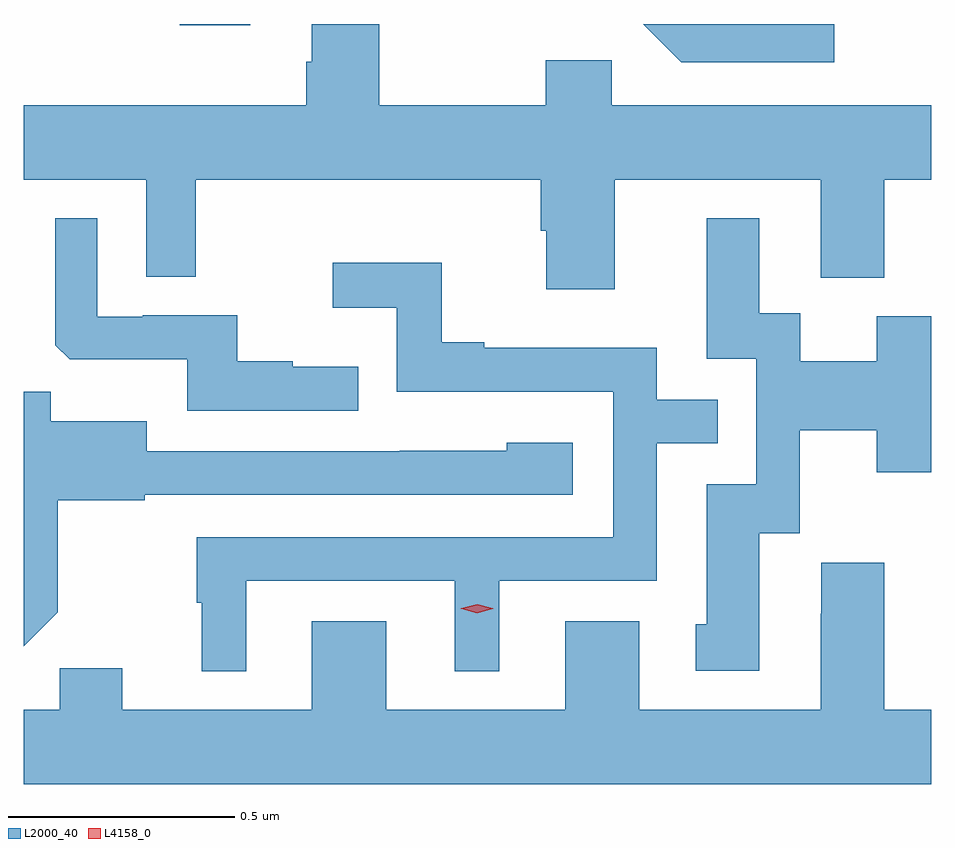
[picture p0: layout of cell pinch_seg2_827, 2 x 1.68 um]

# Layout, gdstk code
import gdstk
lib = gdstk.Library(unit=1e-6, precision=1e-09)
def R(c, l, rs):  # rectangles x0, y0, x1, y1
    for r in rs: c.add(gdstk.rectangle(r[:2], r[2:], *l))
def P(c, l, *ps):  # polygons
    for p in ps: c.add(gdstk.Polygon(p, *l))
L2000_40 = (2000, 40)
L4158_0 = (4158, 0)

pinch_seg2_827 = lib.new_cell('pinch_seg2_827')
R(pinch_seg2_827, L2000_40, [(642.218,622.668,642.373,622.671)])
P(pinch_seg2_827, L2000_40, [(643.66,622.671),(643.239,622.671),(643.323,622.587),(643.66,622.587)],
  [(643.177,622.328),(643.631,622.328),(643.631,622.112),(643.771,622.112),(643.771,622.328),(643.874,622.328),(643.874,622.492),(643.17,622.492),(643.17,622.591),(643.024,622.591),(643.024,622.492),(642.657,622.492),(642.657,622.671),(642.509,622.671),(642.509,622.588),(642.497,622.588),(642.497,622.492),(641.874,622.492),(641.874,622.328),(642.144,622.328),(642.144,622.114),(642.253,622.114),(642.253,622.328),(643.013,622.328),(643.013,622.215),(643.025,622.215),(643.025,622.086),(643.177,622.086)],
  [(642.611,621.916),(642.467,621.916),(642.467,621.928),(642.344,621.928),(642.344,622.029),(642.136,622.029),(642.136,622.026),(642.036,622.026),(642.036,622.243),(641.943,622.243),(641.943,621.963),(641.975,621.932),(642.234,621.932),(642.234,621.819),(642.611,621.819)],
  [(643.495,621.549),(643.584,621.549),(643.584,621.776),(643.754,621.776),(643.754,621.683),(643.874,621.683),(643.874,622.027),(643.754,622.027),(643.754,621.928),(643.585,621.928),(643.585,622.034),(643.495,622.034),(643.495,622.243),(643.379,622.243),(643.379,621.933),(643.488,621.933),(643.488,621.657),(643.379,621.657),(643.379,621.348),(643.355,621.348),(643.355,621.246),(643.495,621.246)],
  [(642.364,621.444),(642.824,621.444),(642.824,621.245),(642.922,621.245),(642.922,621.444),(643.269,621.444),(643.269,621.747),(643.403,621.747),(643.403,621.843),(643.269,621.843),(643.269,621.957),(642.889,621.957),(642.889,621.97),(642.795,621.97),(642.795,622.145),(642.555,622.145),(642.555,622.046),(642.696,622.046),(642.696,621.861),(643.173,621.861),(643.173,621.54),(642.255,621.54),(642.255,621.396),(642.266,621.396),(642.266,621.245),(642.364,621.245)],
  [(641.949,621.375),(641.949,621.621),(642.141,621.621),(642.141,621.633),(643.084,621.633),(643.084,621.748),(642.939,621.748),(642.939,621.73),(642.703,621.73),(642.703,621.729),(642.145,621.729),(642.145,621.796),(641.934,621.796),(641.934,621.86),(641.874,621.86),(641.874,621.3)],
  [(642.509,621.355),(642.509,621.16),(642.091,621.16),(642.091,621.251),(641.953,621.251),(641.953,621.16),(641.874,621.16),(641.874,620.996),(643.874,620.996),(643.874,621.16),(643.771,621.16),(643.771,621.484),(643.632,621.484),(643.632,621.371),(643.631,621.371),(643.631,621.16),(643.231,621.16),(643.231,621.355),(643.067,621.355),(643.067,621.16),(642.673,621.16),(642.673,621.355)])
P(pinch_seg2_827, L4158_0, [(642.873,621.372),(642.838,621.382),(642.837,621.382),(642.838,621.383),(642.873,621.392),(642.908,621.383),(642.909,621.382),(642.908,621.382)])

lib.write_gds('pinch_seg2_827.gds')
